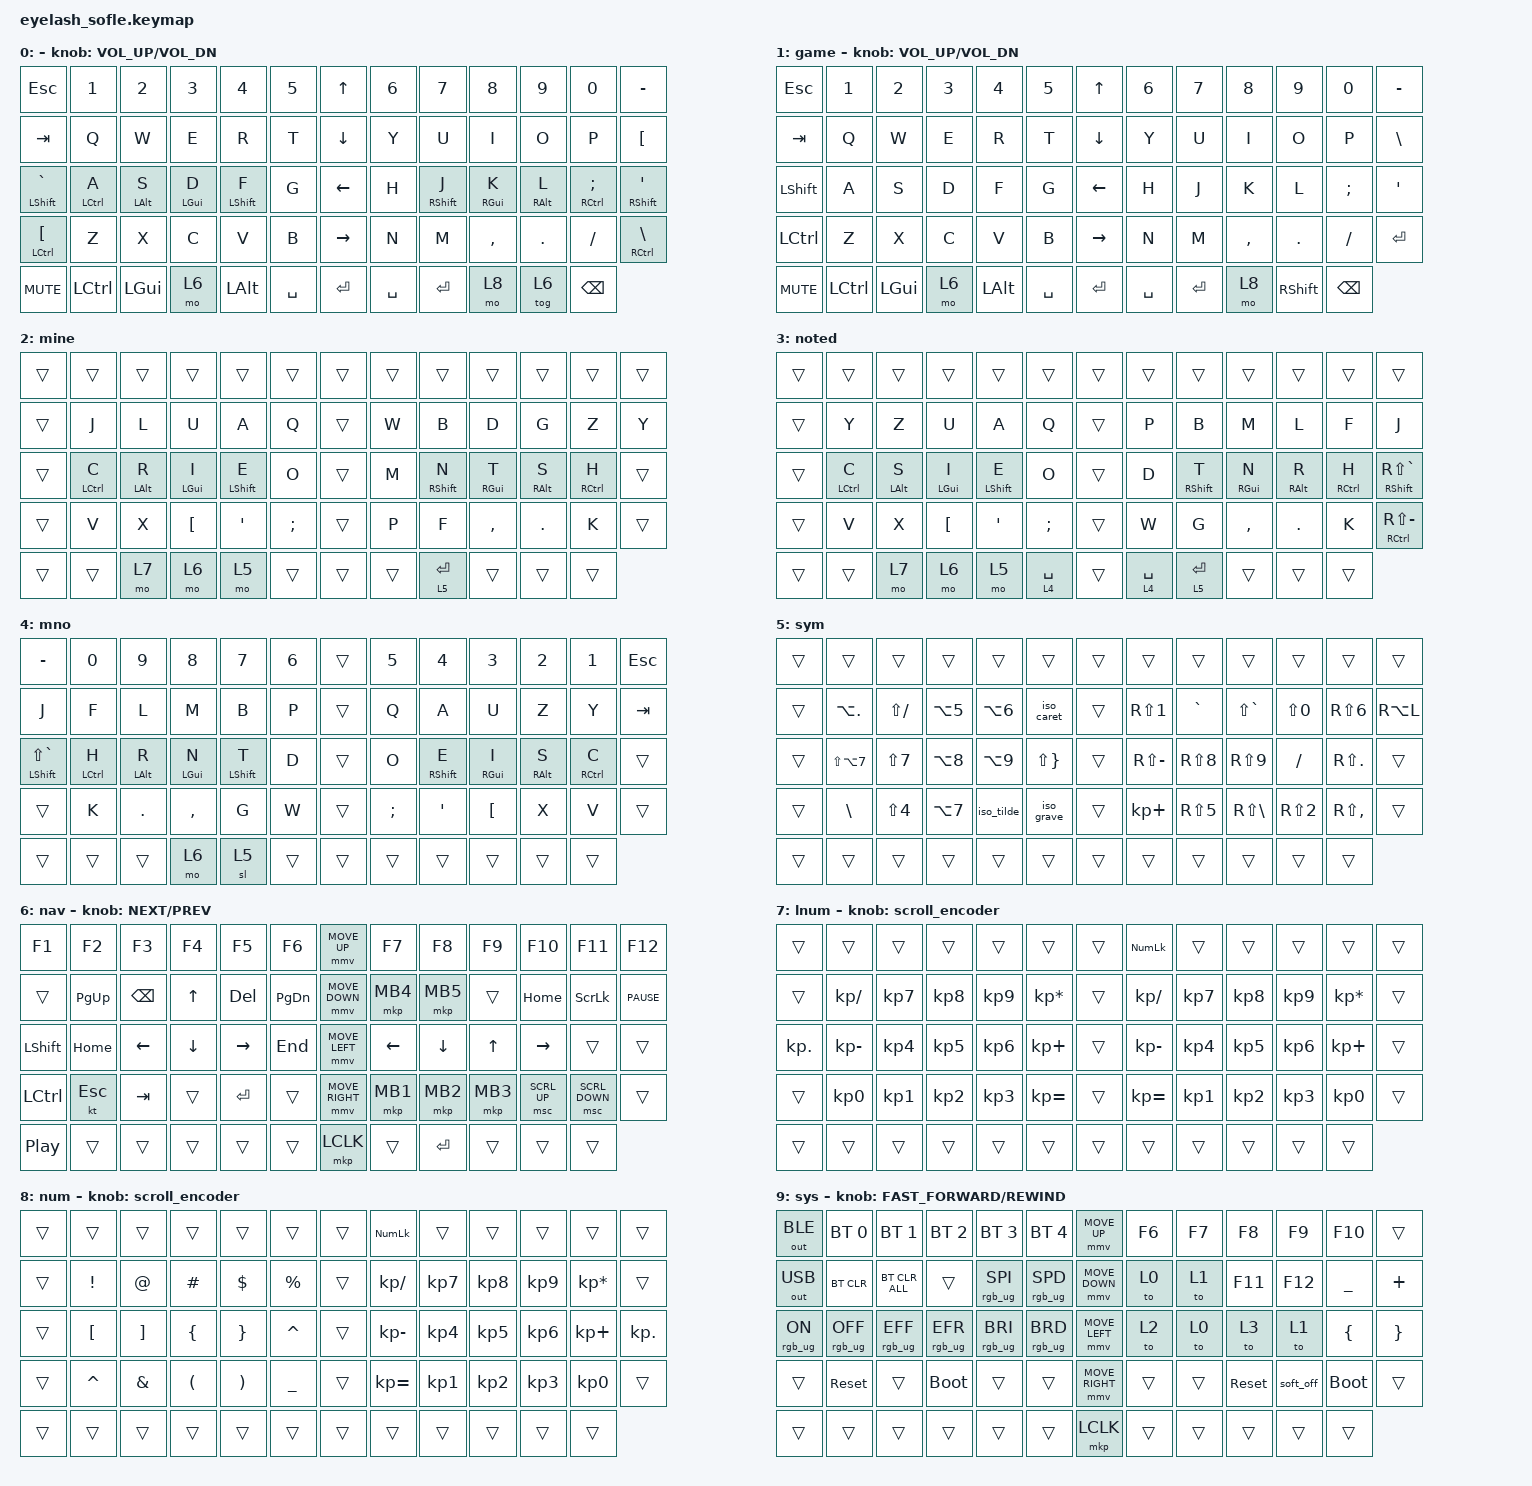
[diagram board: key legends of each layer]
#define ZMK_POINTING_DEFAULT_MOVE_VAL 1200  // 600
#define ZMK_POINTING_DEFAULT_SCRL_VAL 35    // 10

#include <input/processors.dtsi>
#include <zephyr/dt-bindings/input/input-event-codes.h>
#include <behaviors.dtsi>
#include <dt-bindings/zmk/bt.h>
#include <dt-bindings/zmk/keys.h>
#include <dt-bindings/zmk/outputs.h>
#include <dt-bindings/zmk/pointing.h>
#include <dt-bindings/zmk/rgb.h>

/ {
    zip_scroll_scaler: zip_scroll_scaler {
        compatible = "zmk,input-processor-scaler";
        #input-processor-cells = <2>;
        type = <INPUT_EV_REL>;
        codes = <INPUT_REL_WHEEL INPUT_REL_HWHEEL>;
        track-remainders;
    };
};

&mmv_input_listener { input-processors = <&zip_xy_scaler 2 1>; };

&msc_input_listener { input-processors = <&zip_scroll_scaler 2 1>; };

&msc {
    acceleration-exponent = <0>;      // 0
    time-to-max-speed-ms = <0>;       // 300
    delay-ms = <0>;                   // 0
};

&mmv {
    time-to-max-speed-ms = <400>;
    acceleration-exponent = <1>;
};

/ {
    scroll_encoder: scroll_encoder {
        compatible = "zmk,behavior-sensor-rotate";
        #sensor-binding-cells = <0>;
        bindings = <&msc SCRL_DOWN>, <&msc SCRL_UP>;

        tap-ms = <30>;
    };

    hrm_l: hrm_l {
        compatible = "zmk,behavior-hold-tap";
        label = "HRM_L";
        bindings = <&kp>, <&kp>;

        #binding-cells = <2>;
        tapping-term-ms = <280>;
        flavor = "balanced";
        hold-trigger-key-positions = <57 56 55 54 53 7 8 9 10 11 12 20 21 22 23 24 25 33 34 35 36 37 38 46 47 48 49 50 51 60 61 62 63 59 52 6 19 45 58 32>;
        quick-tap-ms = <175>;
        hold-trigger-on-release;
        require-prior-idle-ms = <150>;
    };

    hrm_r: hrm_r {
        compatible = "zmk,behavior-hold-tap";
        label = "HRM_R";
        bindings = <&kp>, <&kp>;

        #binding-cells = <2>;
        tapping-term-ms = <280>;
        flavor = "balanced";
        hold-trigger-key-positions = <59 60 61 62 63 0 1 2 3 4 5 13 14 15 16 17 18 26 27 28 29 30 31 39 40 41 42 43 44 52 53 54 55 56 57>;
        quick-tap-ms = <175>;
        hold-trigger-on-release;
        require-prior-idle-ms = <150>;
    };

    nav_to_sym: nav_to_sym {
        compatible = "zmk,behavior-tap-dance";
        label = "NAV_TO_SYM";
        #binding-cells = <0>;
        bindings = <&none>, <&none>, <&none>;
    };

    behaviors {
    };

    combos {
        compatible = "zmk,combos";

        para_left {
            bindings = <&kp LEFT_PARENTHESIS>;
            key-positions = <28 30>;
            require-prior-idle-ms = <150>;
            layers = <0>;
            timeout-ms = <18>;
        };

        para_right {
            bindings = <&kp RIGHT_PARENTHESIS>;
            key-positions = <34 36>;
            require-prior-idle-ms = <150>;
            layers = <0>;
            timeout-ms = <18>;
        };

        bracket_l {
            bindings = <&kp LEFT_BRACKET>;
            key-positions = <43 41>;
            require-prior-idle-ms = <150>;
            layers = <0>;
            timeout-ms = <18>;
        };

        bracket_r {
            bindings = <&kp RIGHT_BRACKET>;
            key-positions = <49 47>;
            require-prior-idle-ms = <150>;
            layers = <0>;
            timeout-ms = <18>;
        };

        at {
            bindings = <&kp AT>;
            key-positions = <15 28>;
            layers = <0>;
            require-prior-idle-ms = <50>;
            timeout-ms = <30>;
        };

        hash {
            bindings = <&kp HASH>;
            key-positions = <16 29>;
            layers = <0>;
            require-prior-idle-ms = <50>;
            timeout-ms = <30>;
        };

        dollar {
            bindings = <&kp DOLLAR>;
            key-positions = <17 30>;
            layers = <0>;
            require-prior-idle-ms = <50>;
            timeout-ms = <30>;
        };

        percent {
            bindings = <&kp PERCENT>;
            key-positions = <18 31>;
            layers = <0>;
            require-prior-idle-ms = <50>;
            timeout-ms = <30>;
        };

        caret {
            bindings = <&kp CARET>;
            key-positions = <20 33>;
            layers = <0>;
            require-prior-idle-ms = <50>;
            timeout-ms = <30>;
        };

        underscore {
            bindings = <&kp UNDERSCORE>;
            key-positions = <33 46>;
            layers = <0>;
            require-prior-idle-ms = <50>;
            timeout-ms = <30>;
        };

        ampersand {
            bindings = <&kp AMPERSAND>;
            key-positions = <23 36>;
            layers = <0>;
            require-prior-idle-ms = <50>;
            timeout-ms = <30>;
        };

        pipe {
            bindings = <&kp PIPE>;
            key-positions = <49 36>;
            layers = <0>;
            require-prior-idle-ms = <50>;
            timeout-ms = <30>;
        };

        slash {
            bindings = <&kp SLASH>;
            key-positions = <35 48>;
            layers = <0>;
            require-prior-idle-ms = <50>;
            timeout-ms = <30>;
        };

        backslash {
            bindings = <&kp BACKSLASH>;
            key-positions = <29 42>;
            layers = <0>;
            require-prior-idle-ms = <50>;
            timeout-ms = <30>;
        };

        equal {
            bindings = <&kp KP_EQUAL>;
            key-positions = <30 43>;
            layers = <0>;
            require-prior-idle-ms = <50>;
            timeout-ms = <30>;
        };

        excl {
            bindings = <&kp EXCL>;
            key-positions = <14 27>;
            require-prior-idle-ms = <50>;
            layers = <0>;
            timeout-ms = <30>;
        };

        brace_left {
            bindings = <&kp LEFT_BRACE>;
            key-positions = <15 17>;
            timeout-ms = <18>;
            require-prior-idle-ms = <150>;
            layers = <0>;
        };

        brace_right {
            bindings = <&kp RIGHT_BRACE>;
            key-positions = <21 23>;
            timeout-ms = <18>;
            require-prior-idle-ms = <150>;
            layers = <0>;
        };

        para_left_neo {
            bindings = <&kp RS(N8)>;
            key-positions = <28 30>;
            timeout-ms = <47>;
            require-prior-idle-ms = <150>;
            layers = <9>;
        };

        para_right_neo {
            bindings = <&kp RS(N9)>;
            key-positions = <34 36>;
            timeout-ms = <47>;
            require-prior-idle-ms = <150>;
            layers = <9>;
        };

        bracket_l_neo {
            bindings = <&kp LA(N5)>;
            key-positions = <43 41>;
            timeout-ms = <47>;
            require-prior-idle-ms = <150>;
            layers = <9>;
        };

        bracket_r_neo {
            bindings = <&kp LA(NUMBER_6)>;
            key-positions = <47 49>;
            timeout-ms = <47>;
            require-prior-idle-ms = <150>;
            layers = <9>;
        };

        brace_left_neo {
            bindings = <&kp LA(N8)>;
            key-positions = <15 17>;
            timeout-ms = <18>;
            require-prior-idle-ms = <150>;
            layers = <9>;
        };

        brace_right_neo {
            bindings = <&kp LA(N9)>;
            key-positions = <21 23>;
            timeout-ms = <47>;
            require-prior-idle-ms = <150>;
            layers = <9>;
        };

        backspace {
            bindings = <&kp BACKSPACE>;
            key-positions = <37 50>;
            layers = <2 3>;
            timeout-ms = <47>;
            require-prior-idle-ms = <150>;
        };

        excl_neo {
            bindings = <&kp LS(NUMBER_1)>;
            key-positions = <14 27>;
            layers = <2 3>;
            timeout-ms = <47>;
            require-prior-idle-ms = <150>;
        };

        underscore_neo {
            bindings = <&kp LS(SLASH)>;
            key-positions = <33 46>;
            timeout-ms = <47>;
            require-prior-idle-ms = <150>;
            layers = <3 2>;
        };

        at_neo {
            bindings = <&kp RA(L)>;
            key-positions = <15 28>;
            timeout-ms = <47>;
            require-prior-idle-ms = <150>;
            layers = <2 3>;
        };

        hash_neo {
            bindings = <&kp BACKSLASH>;
            key-positions = <16 29>;
            timeout-ms = <47>;
            require-prior-idle-ms = <150>;
            layers = <2 3>;
        };

        dollar_neo {
            bindings = <&kp LS(NUMBER_4)>;
            key-positions = <17 30>;
            timeout-ms = <47>;
            require-prior-idle-ms = <150>;
            layers = <2 3>;
        };

        percent_neo {
            bindings = <&kp LS(N5)>;
            key-positions = <18 31>;
            timeout-ms = <47>;
            require-prior-idle-ms = <150>;
            layers = <2 3>;
        };

        caret_neo {
            bindings = <&iso_caret>;
            key-positions = <20 33>;
            timeout-ms = <47>;
            require-prior-idle-ms = <150>;
            layers = <2 3>;
        };

        ampersand_neo {
            bindings = <&kp RS(NUMBER_6)>;
            key-positions = <21 34>;
            timeout-ms = <47>;
            require-prior-idle-ms = <150>;
            layers = <2 3>;
        };

        arrow_left_neo {
            bindings = <&kp GRAVE>;
            key-positions = <16 30>;
            timeout-ms = <47>;
            require-prior-idle-ms = <150>;
            layers = <2 3>;
        };

        arrow_right_neo {
            bindings = <&kp RS(GRAVE)>;
            key-positions = <22 34>;
            timeout-ms = <47>;
            require-prior-idle-ms = <150>;
            layers = <2 3>;
        };

        s_quote_neo {
            bindings = <&kp RS(BACKSLASH)>;
            key-positions = <35 48>;
            timeout-ms = <47>;
            require-prior-idle-ms = <150>;
            layers = <2 3>;
        };

        d_quote_neo {
            bindings = <&kp RS(NUMBER_2)>;
            key-positions = <36 49>;
            timeout-ms = <47>;
            require-prior-idle-ms = <150>;
            layers = <2 3>;
        };

        grave_neo {
            bindings = <&iso_grave>;
            key-positions = <31 44>;
            timeout-ms = <47>;
            require-prior-idle-ms = <150>;
            layers = <2 3>;
        };

        caps_lock_neo {
            bindings = <&kt CLCK>;
            key-positions = <26 38>;
            layers = <2 3>;
            timeout-ms = <47>;
            require-prior-idle-ms = <150>;
        };

        mouse_toggle {
            bindings = <&tog 6>;
            key-positions = <33 47>;
            timeout-ms = <47>;
            require-prior-idle-ms = <150>;
            layers = <2 3 6>;
        };
    };

    macros {
        iso_tilde: sep_tilde {
            compatible = "zmk,behavior-macro";
            #binding-cells = <0>;
            bindings = <&kp LA(N)>;
            label = "SEP_TILDE";
        };

        iso_grave: iso_grave {
            compatible = "zmk,behavior-macro";
            #binding-cells = <0>;
            bindings = <&kp LS(EQUAL)>;
            label = "ISO_GRAVE";
        };

        iso_caret: iso_caret {
            compatible = "zmk,behavior-macro";
            #binding-cells = <0>;
            bindings = <&kp LS(LA(NUMBER_6))>;
            label = "ISO_CARET";
        };
    };

    keymap {
        compatible = "zmk,keymap";

        querty {
            bindings = <
&kp ESC                           &kp N1                 &kp N2             &kp N3             &kp N4               &kp N5       &kp UP_ARROW     &kp N6     &kp N7                &kp N8              &kp N9              &kp N0                     &kp MINUS
&kp TAB                           &kp Q                  &kp W              &kp E              &kp R                &kp T        &kp DOWN_ARROW   &kp Y      &kp U                 &kp I               &kp O               &kp P                      &kp LEFT_BRACKET
&hrm_l LEFT_SHIFT GRAVE           &hrm_l LEFT_CONTROL A  &hrm_l LEFT_ALT S  &hrm_l LEFT_GUI D  &hrm_l LEFT_SHIFT F  &kp G        &kp LEFT_ARROW   &kp H      &hrm_r RIGHT_SHIFT J  &hrm_r RIGHT_GUI K  &hrm_r RIGHT_ALT L  &hrm_r RIGHT_CONTROL SEMI  &hrm_r RIGHT_SHIFT APOS
&hrm_l LEFT_CONTROL LEFT_BRACKET  &kp Z                  &kp X              &kp C              &kp V                &kp B        &kp RIGHT_ARROW  &kp N      &kp M                 &kp COMMA           &kp DOT             &kp FSLH                   &hrm_r RIGHT_CONTROL BACKSLASH
&kp C_MUTE                        &kp LEFT_CONTROL       &kp LEFT_GUI       &mo 6              &kp LEFT_ALT         &kp SPACE    &kp ENTER        &kp SPACE  &kp ENTER             &mo 8               &tog 6              &kp BACKSPACE
            >;

            sensor-bindings = <&inc_dec_kp C_VOLUME_UP C_VOL_DN>;
            display-name = " ";
            label = "q";
        };

        game {
            display-name = "game";
            bindings = <
&kp ESC           &kp N1     &kp N2        &kp N3  &kp N4        &kp N5       &kp UP_ARROW     &kp N6     &kp N7     &kp N8     &kp N9           &kp N0         &kp MINUS
&kp TAB           &kp Q      &kp W         &kp E   &kp R         &kp T        &kp DOWN_ARROW   &kp Y      &kp U      &kp I      &kp O            &kp P          &kp BSLH
&kp LEFT_SHIFT    &kp A      &kp S         &kp D   &kp F         &kp G        &kp LEFT_ARROW   &kp H      &kp J      &kp K      &kp L            &kp SEMI       &kp APOS
&kp LEFT_CONTROL  &kp Z      &kp X         &kp C   &kp V         &kp B        &kp RIGHT_ARROW  &kp N      &kp M      &kp COMMA  &kp DOT          &kp FSLH       &kp ENTER
&kp C_MUTE        &kp LCTRL  &kp LEFT_GUI  &mo 6   &kp LEFT_ALT  &kp SPACE    &kp ENTER        &kp SPACE  &kp ENTER  &mo 8      &kp RIGHT_SHIFT  &kp BACKSPACE
            >;

            sensor-bindings = <&inc_dec_kp C_VOLUME_UP C_VOL_DN>;
        };

        mine {
            bindings = <
&trans  &trans          &trans             &trans             &trans               &trans      &trans  &trans  &trans                &trans              &trans              &trans          &trans
&trans  &kp J           &kp L              &kp U              &kp A                &kp Q       &trans  &kp W   &kp B                 &kp D               &kp G               &kp Z           &kp Y
&trans  &hrm_l LCTRL C  &hrm_l LEFT_ALT R  &hrm_l LEFT_GUI I  &hrm_l LEFT_SHIFT E  &kp O       &trans  &kp M   &hrm_r RIGHT_SHIFT N  &hrm_r RIGHT_GUI T  &hrm_r RIGHT_ALT S  &hrm_r RCTRL H  &trans
&trans  &kp V           &kp X              &kp LBKT           &kp APOS             &kp SEMI    &trans  &kp P   &kp F                 &kp COMMA           &kp DOT             &kp K           &trans
&trans  &trans          &mo 7              &mo 6              &mo 5                &trans      &trans  &trans  &lt 5 RETURN          &trans              &trans              &trans
            >;

            label = "mine";
        };

        noted {
            label = "noted";
            bindings = <
&trans  &trans          &trans             &trans             &trans               &trans         &trans  &trans       &trans                &trans              &trans              &trans          &trans
&trans  &kp Y           &kp Z              &kp U              &kp A                &kp Q          &trans  &kp P        &kp B                 &kp M               &kp L               &kp F           &kp J
&trans  &hrm_l LCTRL C  &hrm_l LEFT_ALT S  &hrm_l LEFT_GUI I  &hrm_l LEFT_SHIFT E  &kp O          &trans  &kp D        &hrm_r RIGHT_SHIFT T  &hrm_r RIGHT_GUI N  &hrm_r RIGHT_ALT R  &hrm_r RCTRL H  &hrm_r RSHIFT RS(GRAVE)
&trans  &kp V           &kp X              &kp LBKT           &kp APOS             &kp SEMI       &trans  &kp W        &kp G                 &kp COMMA           &kp DOT             &kp K           &hrm_r RCTRL RS(MINUS)
&trans  &trans          &mo 7              &mo 6              &mo 5                &lt 4 SPACE    &trans  &lt 4 SPACE  &lt 5 RETURN          &trans              &trans              &trans
            >;
        };

        mno {
            label = "mno";
            bindings = <
&kp MINUS                 &kp N0          &kp N9             &kp N8             &kp N7               &kp NUMBER_6    &trans  &kp N5    &kp NUMBER_4          &kp NUMBER_3        &kp NUMBER_2        &kp NUMBER_1    &kp ESCAPE
&kp J                     &kp F           &kp L              &kp M              &kp B                &kp P           &trans  &kp Q     &kp A                 &kp U               &kp Z               &kp Y           &kp TAB
&mt LEFT_SHIFT LS(GRAVE)  &hrm_l LCTRL H  &hrm_l LEFT_ALT R  &hrm_l LEFT_GUI N  &hrm_l LEFT_SHIFT T  &kp D           &trans  &kp O     &hrm_r RIGHT_SHIFT E  &hrm_r RIGHT_GUI I  &hrm_r RIGHT_ALT S  &hrm_r RCTRL C  &trans
&trans                    &kp K           &kp DOT            &kp COMMA          &kp G                &kp W           &trans  &kp SEMI  &kp APOS              &kp LBKT            &kp X               &kp V           &trans
&trans                    &trans          &trans             &mo 6              &sl 5                &trans          &trans  &trans    &trans                &trans              &trans              &trans
            >;
        };

        m_sym {
            bindings = <
&trans  &trans          &trans            &trans      &trans            &trans                 &trans  &trans            &trans      &trans             &trans            &trans            &trans
&trans  &kp LA(PERIOD)  &kp LS(SLASH)     &kp LA(N5)  &kp LA(NUMBER_6)  &iso_caret             &trans  &kp RS(NUMBER_1)  &kp GRAVE   &kp LS(GRAVE)      &kp LS(N0)        &kp RS(NUMBER_6)  &kp RA(L)
&trans  &kp LS(LA(N7))  &kp LS(N7)        &kp LA(N8)  &kp LA(N9)        &kp LS(RIGHT_BRACE)    &trans  &kp RS(MINUS)     &kp RS(N8)  &kp RS(N9)         &kp SLASH         &kp RS(PERIOD)    &trans
&trans  &kp BACKSLASH   &kp LS(NUMBER_4)  &kp LA(N7)  &iso_tilde        &iso_grave             &trans  &kp KP_PLUS       &kp RS(N5)  &kp RS(BACKSLASH)  &kp RS(NUMBER_2)  &kp RS(COMMA)     &trans
&trans  &trans          &trans            &trans      &trans            &trans                 &trans  &trans            &trans      &trans             &trans            &trans
            >;

            label = "sym";
        };

        nav {
            bindings = <
&kp F1            &kp F2       &kp F3          &kp F4          &kp F5           &kp F6           &mmv MOVE_UP     &kp F7    &kp F8          &kp F9        &kp F10       &kp F11         &kp F12
&trans            &kp PAGE_UP  &kp BACKSPACE   &kp UP_ARROW    &kp DEL          &kp PAGE_DOWN    &mmv MOVE_DOWN   &mkp MB4  &mkp MB5        &trans        &kp HOME      &kp SCROLLLOCK  &kp C_PAUSE
&kp LEFT_SHIFT    &kp HOME     &kp LEFT_ARROW  &kp DOWN_ARROW  &kp RIGHT_ARROW  &kp END          &mmv MOVE_LEFT   &kp LEFT  &kp DOWN_ARROW  &kp UP_ARROW  &kp RIGHT     &trans          &trans
&kp LEFT_CONTROL  &kt ESCAPE   &kp TAB         &trans          &kp ENTER        &trans           &mmv MOVE_RIGHT  &mkp MB1  &mkp MB2        &mkp MB3      &msc SCRL_UP  &msc SCRL_DOWN  &trans
&kp C_PP          &trans       &trans          &trans          &trans           &trans           &mkp LCLK        &trans    &kp ENTER       &trans        &trans        &trans
            >;

            display-name = "nav";
            sensor-bindings = <&inc_dec_kp C_NEXT C_PREV>;
        };

        lnum {
            label = "lnum";
            bindings = <
&trans      &trans           &trans           &trans           &trans           &trans             &trans  &kp KP_NUMLOCK  &trans           &trans           &trans           &trans           &trans
&trans      &kp KP_SLASH     &kp KP_NUMBER_7  &kp KP_NUMBER_8  &kp KP_NUMBER_9  &kp KP_MULTIPLY    &trans  &kp KP_DIVIDE   &kp KP_NUMBER_7  &kp KP_NUMBER_8  &kp KP_NUMBER_9  &kp KP_MULTIPLY  &trans
&kp KP_DOT  &kp KP_MINUS     &kp KP_NUMBER_4  &kp KP_NUMBER_5  &kp KP_NUMBER_6  &kp KP_PLUS        &trans  &kp KP_MINUS    &kp KP_NUMBER_4  &kp KP_NUMBER_5  &kp KP_NUMBER_6  &kp KP_PLUS      &trans
&trans      &kp KP_NUMBER_0  &kp KP_NUMBER_1  &kp KP_NUMBER_2  &kp KP_NUMBER_3  &kp KP_EQUAL       &trans  &kp KP_EQUAL    &kp KP_NUMBER_1  &kp KP_N2        &kp KP_NUMBER_3  &kp KP_N0        &trans
&trans      &trans           &trans           &trans           &trans           &trans             &trans  &trans          &trans           &trans           &trans           &trans
            >;

            sensor-bindings = <&scroll_encoder>;
        };

        num {
            bindings = <
&trans  &trans            &trans             &trans                &trans                 &trans            &trans  &kp KP_NUMLOCK  &trans           &trans           &trans           &trans           &trans
&trans  &kp EXCLAMATION   &kp AT_SIGN        &kp HASH              &kp DOLLAR             &kp PERCENT       &trans  &kp KP_DIVIDE   &kp KP_NUMBER_7  &kp KP_NUMBER_8  &kp KP_NUMBER_9  &kp KP_MULTIPLY  &trans
&trans  &kp LEFT_BRACKET  &kp RIGHT_BRACKET  &kp LEFT_BRACE        &kp RIGHT_BRACE        &kp CARET         &trans  &kp KP_MINUS    &kp KP_NUMBER_4  &kp KP_NUMBER_5  &kp KP_NUMBER_6  &kp KP_PLUS      &kp KP_DOT
&trans  &kp CARET         &kp AMPERSAND      &kp LEFT_PARENTHESIS  &kp RIGHT_PARENTHESIS  &kp UNDERSCORE    &trans  &kp KP_EQUAL    &kp KP_NUMBER_1  &kp KP_N2        &kp KP_NUMBER_3  &kp KP_N0        &trans
&trans  &trans            &trans             &trans                &trans                 &trans            &trans  &trans          &trans           &trans           &trans           &trans
            >;

            label = "num";
            sensor-bindings = <&scroll_encoder>;
        };

        sys {
            bindings = <
&out OUT_BLE    &bt BT_SEL 0     &bt BT_SEL 1     &bt BT_SEL 2     &bt BT_SEL 3     &bt BT_SEL 4       &mmv MOVE_UP     &kp F6  &kp F7  &kp F8      &kp F9     &kp F10      &trans
&out OUT_USB    &bt BT_CLR       &bt BT_CLR_ALL   &trans           &rgb_ug RGB_SPI  &rgb_ug RGB_SPD    &mmv MOVE_DOWN   &to 0   &to 1   &kp F11     &kp F12    &kp UNDER    &kp PLUS
&rgb_ug RGB_ON  &rgb_ug RGB_OFF  &rgb_ug RGB_EFF  &rgb_ug RGB_EFR  &rgb_ug RGB_BRI  &rgb_ug RGB_BRD    &mmv MOVE_LEFT   &to 2   &to 0   &to 3       &to 1      &kp LBRC     &kp RBRC
&trans          &sys_reset       &trans           &bootloader      &trans           &trans             &mmv MOVE_RIGHT  &trans  &trans  &sys_reset  &soft_off  &bootloader  &trans
&trans          &trans           &trans           &trans           &trans           &trans             &mkp LCLK        &trans  &trans  &trans      &trans     &trans
            >;

            sensor-bindings = <&inc_dec_kp C_FAST_FORWARD C_REWIND>;
            label = "sys";
        };
    };

    conditional_layers {
        compatible = "zmk,conditional-layers";

        activate_sys {
            if-layers = <6 8>;
            then-layer = <9>;
        };
    };
};
